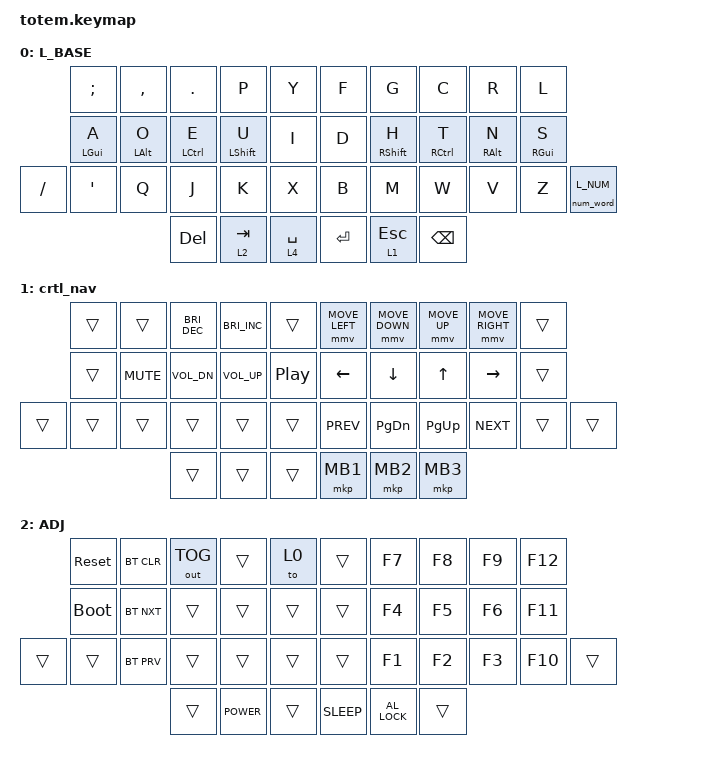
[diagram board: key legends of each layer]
//
//                                                        ▀▀▀▀▀     ▀▀▀▀▀          ▀▀█▀▀
//                                                        ▄▀▀▀▄  ▄  ▄▀▀▀▄  ▄  ▄▀▀▀▄  █  ▄▀▀▀▄
//                                                        █   █  █  █   █  █  █   █  █  █   █
//                                                         ▀▀▀   █   ▀▀▀   █   ▀▀▀   ▀   ▀▀▀
//                                                               █      ▄▄▄█▄▄▄    █   █  
//                                                               ▀      █  █  █     █▄█
//                                                             ▀▀▀▀▀    █  █  █      ▀
//                                                                      ▀  ▀  ▀
//
// ▄▄▄▄▄▄▄▄▄▄▄▄▄▄▄▄▄▄▄▄▄▄▄▄▄▄▄▄▄▄▄▄▄▄▄▄▄▄▄▄▄▄▄▄▄▄▄▄▄▄▄▄▄▄▄▄▄▄▄▄▄▄▄▄▄▄▄▄▄▄▄▄▄▄▄▄▄▄▄▄▄▄▄▄▄▄▄▄▄▄▄▄▄▄▄▄▄▄▄▄▄▄▄▄▄▄▄▄▄▄▄▄▄▄▄▄▄▄▄▄▄▄▄▄▄▄▄▄▄▄▄▄▄▄▄▄▄▄▄▄▄▄▄▄▄▄▄▄▄

#include <behaviors.dtsi>
#include <dt-bindings/zmk/bt.h>
#include <dt-bindings/zmk/keys.h>
#include <dt-bindings/zmk/outputs.h>
#include <dt-bindings/zmk/pointing.h>

#include <behaviors/num_word.dtsi>

#define TEST -1
#define L_BASE 0
#define L_NUM  1
#define L_SYM  2
#define ADJ  3
#define TVP1 4
#define TVP2 5

&mt {
    quick-tap-ms = <100>;
    global-quick-tap;
    flavor = "tap-preferred";
    tapping-term-ms = <170>;
};

/ {
    combos {
        compatible = "zmk,combos";

        combo_esc {
            timeout-ms = <50>;
            key-positions = <0 1>;
            bindings = <&kp ESC>;
        };

        combo_tvp {
            timeout-ms = <100>;
            key-positions = <11 12 13>;
            bindings = <&tog 0>;
        };
    };

    macros {
        gif: gif {
            label = "giphy";
            compatible = "zmk,behavior-macro";
            #binding-cells = <0>;
            bindings =
                <&macro_press>,
                <&kp LSHFT>,
                <&macro_tap>,
                <&kp N2>,
                <&macro_release>,
                <&kp LSHFT>,
                <&macro_tap>,
                <&kp G &kp I &kp F>;
        };
    };

#include "zmk-helpers/key-labels/totem.h"                                      // Source key-labels.
#define KEYS_L LT0 LT1 LT2 LT3 LT4 LM0 LM1 LM2 LM3 LM4 LB0 LB1 LB2 LB3 LB4 LB5 // Left-hand keys.
#define KEYS_R RT0 RT1 RT2 RT3 RT4 RM0 RM1 RM2 RM3 RM4 RB0 RB1 RB2 RB3 RB4 LB5 // Right-hand keys.
#define THUMBS LH2 LH1 LH0 RH0 RH1 RH2                                         // Thumb keys.

#define MAKE_HRM(NAME, HOLD, TAP, TRIGGER_POS)                                 \
  ZMK_HOLD_TAP(NAME, bindings = <HOLD>, <TAP>; flavor = "balanced";            \
               tapping-term-ms = <280>; quick-tap-ms = <QUICK_TAP_MS>;         \
               require-prior-idle-ms = <150>; hold-trigger-on-release;         \
               hold-trigger-key-positions = <TRIGGER_POS>;)

MAKE_HRM(hml, &kp, &kp, KEYS_R THUMBS) // Left-hand HRMs.
MAKE_HRM(hmr, &kp, &kp, KEYS_L THUMBS) // Right-hand HRMs.


    keymap {
        compatible = "zmk,keymap";

        // ▄▄▄▄▄▄▄▄▄▄▄▄▄▄▄▄▄▄▄▄▄▄▄▄▄▄▄▄▄▄▄▄▄▄▄▄▄▄▄▄▄▄▄▄▄▄▄▄▄▄▄▄▄▄▄▄▄▄▄▄▄▄▄▄▄▄▄▄▄▄▄▄▄▄▄▄▄▄▄▄▄▄▄▄▄▄▄▄▄▄▄▄▄▄▄▄▄▄▄▄▄▄▄▄▄▄▄▄▄▄▄▄▄▄▄▄▄▄▄▄▄▄▄▄▄▄▄▄▄▄▄▄▄▄▄▄▄▄▄▄▄▄▄▄▄▄▄▄▄

        base_layer {
            // ┏━━━━━━━━━━━━━━━━━━━━━━━━━━━━━━━━━━━━━━━┓

            label = "L_BASE";

            // ┗━━━━━━━━━━━━━━━━━━━━━━━━━━━━━━━━━━━━━━━┛
            //             ┏━━━━━━━━━━━┳━━━━━━━━━━━┳━━━━━━━━━━━┳━━━━━━━━━━━┳━━━━━━━━━━━┓   ┏━━━━━━━━━━━┳━━━━━━━━━━━┳━━━━━━━━━━━┳━━━━━━━━━━━┳━━━━━━━━━━━┓
            //             ┃     Q     ┃     W     ┃     F     ┃     P     ┃     G     ┃   ┃     J     ┃     L     ┃     U     ┃     Y     ┃     ;     ┃
            //             ┣━━━━━━━━━━━╋━━━━━━━━━━━╋━━━━━━━━━━━╋━━━━━━━━━━━╋━━━━━━━━━━━┫   ┣━━━━━━━━━━━╋━━━━━━━━━━━╋━━━━━━━━━━━╋━━━━━━━━━━━╋━━━━━━━━━━━┫
            //             ┃     A     ┃     R     ┃     S     ┃     T     ┃     D     ┃   ┃     H     ┃     N     ┃     E     ┃     I     ┃     O     ┃
            // ┏━━━━━━━━━━━╋━━━━━━━━━━━╋━━━━━━━━━━━╋━━━━━━━━━━━╋━━━━━━━━━━━╋━━━━━━━━━━━┫   ┣━━━━━━━━━━━╋━━━━━━━━━━━╋━━━━━━━━━━━╋━━━━━━━━━━━╋━━━━━━━━━━━╋━━━━━━━━━━━┓
            // ┃     Q     ┃     Z     ┃     X     ┃     C     ┃     V     ┃     B     ┃   ┃     K     ┃     M     ┃     ,     ┃     .     ┃     /     ┃     \     ┃
            // ┗━━━━━━━━━━━┻━━━━━━━━━━━┻━━━━━━━━━━━╋━━━━━━━━━━━╋━━━━━━━━━━━╋━━━━━━━━━━━┫   ┣━━━━━━━━━━━╋━━━━━━━━━━━╋━━━━━━━━━━━╋━━━━━━━━━━━┻━━━━━━━━━━━┻━━━━━━━━━━━┛
            //                                     ┃    DEL    ┃    TAB    ┃    SPC    ┃   ┃   ENTER   ┃           ┃   BSPC    ┃
            //                                     ┗━━━━━━━━━━━┻━━━━━━━━━━━┻━━━━━━━━━━━┛   ┗━━━━━━━━━━━┻━━━━━━━━━━━┻━━━━━━━━━━━┛

            bindings = <
           &kp SEMICOLON  &kp COMMA   &kp PERIOD   &kp P        &kp Y          &kp F    &kp G        &kp C        &kp R       &kp L
           &mt LGUI A     &mt LALT O  &mt LCTRL E  &mt LSHFT U  &kp I          &kp D    &mt RSHFT H  &mt RCTRL T  &mt RALT N  &mt RGUI S
&kp SLASH  &kp SQT        &kp Q       &kp J        &kp K        &kp X          &kp B    &kp M        &kp W        &kp V       &kp Z       &num_word L_NUM
                                      &kp DEL      &lt 2 TAB    &lt 4 SPACE    &kp RET  &lt 1 ESC    &kp BSPC
            >;
        };
        
        number_layer {
            label = "L_NUM"
            bindings = <
         &trans &trans &trans &trans &trans     &trans &trans &trans &trans &trans
         &kp NUMBER_1 &kp NUMBER_2 &kp NUMBER_3 &kp NUMBER_4 &kp NUMBER_5     &kp NUMBER_6 &kp NUMBER_7 &kp NUMBER_8 &kp NUMBER_9 &kp NUMBER_0
         &trans &trans &trans &trans &trans &trans     &trans &trans &trans &trans &trans &trans
         &trans &trans &trans     &trans &trans &trans
            >;
        };

        symbol_layer {
            label = "L_SYM"
            bindings = <
        &trans  &kp AMPERSAND    &kp ASTERISK  &caps_word  &kp LEFT_PARENTHESIS    &kp RIGHT_PARENTHESIS  &kp N7                    &kp N8                &kp N9                  &trans
        &trans  &kp DOLLAR       &kp PERCENT   &kp CARET   &kp LEFT_BRACE          &kp RIGHT_BRACE        &mt RIGHT_SHIFT NUMBER_4  &mt RIGHT_CONTROL N5  &mt RIGHT_ALT NUMBER_6  &mt RIGHT_GUI N0
&trans  &trans  &kp EXCLAMATION  &kp AT_SIGN   &kp HASH    &kp LEFT_BRACKET        &kp RIGHT_BRACKET      &kp NUMBER_1              &kp NUMBER_2          &kp NUMBER_3            &trans            &trans
                                 &kp GRAVE     &kp MINUS   &kp EQUAL               &trans                 &trans                    &trans
            >;
        };

        crtl_nav {
            bindings = <
        &trans  &trans      &kp C_BRI_DEC  &kp C_BRI_INC    &trans               &mmv MOVE_LEFT  &mmv MOVE_DOWN  &mmv MOVE_UP  &mmv MOVE_RIGHT  &trans
        &trans  &kp C_MUTE  &kp C_VOL_DN   &kp C_VOLUME_UP  &kp C_PLAY_PAUSE    &kp LEFT        &kp DOWN        &kp UP_ARROW  &kp RIGHT        &trans
&trans  &trans  &trans      &trans         &trans           &trans              &kp C_PREV      &kp PAGE_DOWN   &kp PAGE_UP   &kp C_NEXT       &trans  &trans
                            &trans         &trans           &trans              &mkp MB1        &mkp MB2        &mkp MB3
            >;
        };

        adjust_layer {
            // ┏━━━━━━━━━━━━━━━━━━━━━━━━━━━━━━━━━━━━━━━┓

            label = "ADJ";

            // ┗━━━━━━━━━━━━━━━━━━━━━━━━━━━━━━━━━━━━━━━┛
            //             ┏━━━━━━━━━━━┳━━━━━━━━━━━┳━━━━━━━━━━━┳━━━━━━━━━━━┳━━━━━━━━━━━┓   ┏━━━━━━━━━━━┳━━━━━━━━━━━┳━━━━━━━━━━━┳━━━━━━━━━━━┳━━━━━━━━━━━┓
            //             ┃   RESET   ┃ BT CLEAR  ┃  OUT TOG  ┃           ┃           ┃   ┃           ┃    F7     ┃    F8     ┃    F9     ┃    F12    ┃
            //             ┣━━━━━━━━━━━╋━━━━━━━━━━━╋━━━━━━━━━━━╋━━━━━━━━━━━╋━━━━━━━━━━━┫   ┣━━━━━━━━━━━╋━━━━━━━━━━━╋━━━━━━━━━━━╋━━━━━━━━━━━╋━━━━━━━━━━━┫
            //             ┃ BOOTLOAD  ┃ BT NEXT   ┃           ┃           ┃           ┃   ┃           ┃    F4     ┃    F5     ┃    F6     ┃    F11    ┃
            // ┏━━━━━━━━━━━╋━━━━━━━━━━━╋━━━━━━━━━━━╋━━━━━━━━━━━╋━━━━━━━━━━━╋━━━━━━━━━━━┫   ┣━━━━━━━━━━━╋━━━━━━━━━━━╋━━━━━━━━━━━╋━━━━━━━━━━━╋━━━━━━━━━━━╋━━━━━━━━━━━┓
            // ┃           ┃           ┃ BT PREV   ┃           ┃           ┃           ┃   ┃           ┃    F1     ┃    F2     ┃    F3     ┃    F10    ┃           ┃
            // ┗━━━━━━━━━━━┻━━━━━━━━━━━┻━━━━━━━━━━━╋━━━━━━━━━━━╋━━━━━━━━━━━╋━━━━━━━━━━━┫   ┣━━━━━━━━━━━╋━━━━━━━━━━━╋━━━━━━━━━━━╋━━━━━━━━━━━┻━━━━━━━━━━━┻━━━━━━━━━━━┛
            //                                     ┃           ┃           ┃           ┃   ┃           ┃           ┃           ┃
            //                                     ┗━━━━━━━━━━━┻━━━━━━━━━━━┻━━━━━━━━━━━┛   ┗━━━━━━━━━━━┻━━━━━━━━━━━┻━━━━━━━━━━━┛

            bindings = <
        &sys_reset   &bt BT_CLR  &out OUT_TOG  &trans       &to 0     &trans       &kp F7         &kp F8  &kp F9  &kp F12
        &bootloader  &bt BT_NXT  &trans        &trans       &trans    &trans       &kp F4         &kp F5  &kp F6  &kp F11
&trans  &trans       &bt BT_PRV  &trans        &trans       &trans    &trans       &kp F1         &kp F2  &kp F3  &kp F10  &trans
                                 &trans        &kp C_POWER  &trans    &kp C_SLEEP  &kp C_AL_LOCK  &trans
            >;
        };

    };
};
